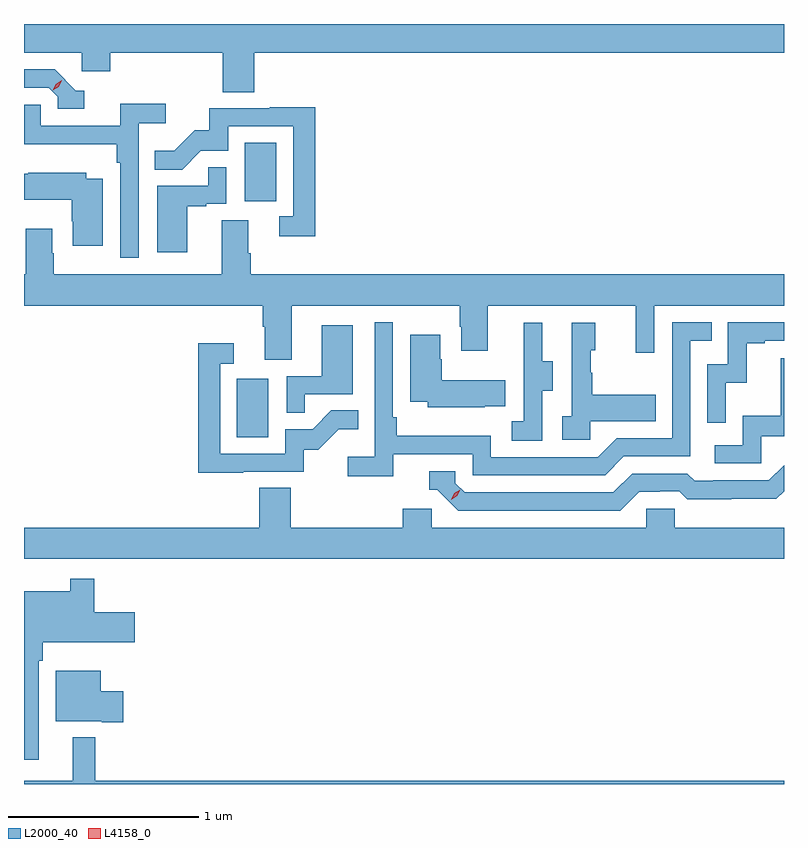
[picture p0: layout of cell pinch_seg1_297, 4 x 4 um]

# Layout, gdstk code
import gdstk
lib = gdstk.Library(unit=1e-6, precision=1e-09)
def R(c, l, rs):  # rectangles x0, y0, x1, y1
    for r in rs: c.add(gdstk.rectangle(r[:2], r[2:], *l))
def P(c, l, *ps):  # polygons
    for p in ps: c.add(gdstk.Polygon(p, *l))
L2000_40 = (2000, 40)
L4158_0 = (4158, 0)

pinch_seg1_297 = lib.new_cell('pinch_seg1_297')
R(pinch_seg1_297, L2000_40, [(926.114,560.364,926.278,560.671), (926.156,561.606,926.32,561.913)])
P(pinch_seg1_297, L2000_40, [(926.204,562.388),(928.993,562.388),(928.993,562.538),(924.993,562.538),(924.993,562.388),(925.296,562.388),(925.296,562.29),(925.448,562.29),(925.448,562.388),(926.039,562.388),(926.039,562.18),(926.204,562.18)],
  [(925.309,562.188),(925.266,562.188),(925.155,562.299),(924.993,562.299),(924.993,562.203),(925.122,562.203),(925.17,562.155),(925.17,562.092),(925.309,562.092)],
  [(925.596,562.016),(925.738,562.016),(925.738,562.118),(925.499,562.118),(925.499,562.002),(925.08,562.002),(925.08,562.113),(924.993,562.113),(924.993,561.905),(925.48,561.905),(925.48,561.809),(925.5,561.809),(925.5,561.309),(925.596,561.309)],
  [(926.525,562.1),(926.287,562.1),(926.287,562.095),(925.969,562.095),(925.969,561.978),(925.892,561.978),(925.785,561.871),(925.681,561.871),(925.681,561.772),(925.825,561.772),(925.923,561.87),(926.067,561.87),(926.067,561.999),(926.409,561.999),(926.409,561.525),(926.337,561.525),(926.337,561.42),(926.525,561.42)],
  [(925.852,561.579),(925.952,561.579),(925.952,561.591),(926.058,561.591),(926.058,561.785),(925.963,561.785),(925.963,561.687),(925.694,561.687),(925.694,561.336),(925.852,561.336)],
  [(925.408,561.724),(925.321,561.724),(925.321,561.754),(925.015,561.754),(925.015,561.751),(924.993,561.751),(924.993,561.614),(925.243,561.614),(925.243,561.501),(925.25,561.501),(925.25,561.372),(925.408,561.372)],
  [(926.401,561.056),(927.286,561.056),(927.286,560.945),(927.293,560.945),(927.293,560.817),(927.433,560.817),(927.433,561.056),(928.214,561.056),(928.214,560.808),(928.311,560.808),(928.311,561.056),(928.993,561.056),(928.993,561.22),(926.186,561.22),(926.186,561.332),(926.173,561.332),(926.173,561.506),(926.033,561.506),(926.033,561.22),(925.149,561.22),(925.149,561.332),(925.141,561.332),(925.141,561.46),(925.001,561.46),(925.001,561.22),(924.993,561.22),(924.993,561.056),(926.249,561.056),(926.249,560.944),(926.261,560.944),(926.261,560.77),(926.401,560.77)],
  [(926.936,560.274),(927.354,560.274),(927.354,560.163),(928.051,560.163),(928.15,560.262),(928.5,560.262),(928.5,560.871),(928.613,560.871),(928.613,560.967),(928.404,560.967),(928.404,560.358),(928.113,560.358),(928.014,560.259),(927.45,560.259),(927.45,560.371),(926.954,560.371),(926.954,560.467),(926.934,560.467),(926.934,560.968),(926.838,560.968),(926.838,560.26),(926.697,560.26),(926.697,560.158),(926.936,560.158)],
  [(928.686,560.651),(928.796,560.651),(928.796,560.859),(928.891,560.859),(928.891,560.871),(928.993,560.871),(928.993,560.967),(928.698,560.967),(928.698,560.748),(928.59,560.748),(928.59,560.439),(928.686,560.439)],
  [(927.972,560.447),(928.319,560.447),(928.319,560.587),(927.985,560.587),(927.985,560.702),(927.975,560.702),(927.975,560.82),(928,560.82),(928,560.965),(927.876,560.965),(927.876,560.474),(927.825,560.474),(927.825,560.349),(927.972,560.349)],
  [(927.72,560.608),(927.775,560.608),(927.775,560.763),(927.721,560.763),(927.721,560.965),(927.623,560.965),(927.623,560.751),(927.624,560.751),(927.624,560.447),(927.561,560.447),(927.561,560.344),(927.72,560.344)],
  [(926.471,560.589),(926.722,560.589),(926.722,560.953),(926.561,560.953),(926.561,560.685),(926.376,560.685),(926.376,560.491),(926.471,560.491)],
  [(927.419,560.525),(927.527,560.525),(927.527,560.662),(927.192,560.662),(927.192,560.774),(927.184,560.774),(927.184,560.902),(927.026,560.902),(927.026,560.549),(927.117,560.549),(927.117,560.522),(927.419,560.522)],
  [(926.147,560.181),(926.466,560.181),(926.466,560.298),(926.542,560.298),(926.649,560.405),(926.753,560.405),(926.753,560.504),(926.61,560.504),(926.512,560.406),(926.367,560.406),(926.367,560.277),(926.025,560.277),(926.025,560.751),(926.098,560.751),(926.098,560.857),(925.909,560.857),(925.909,560.176),(926.147,560.176)],
  [(928.872,560.367),(928.993,560.367),(928.993,560.779),(928.975,560.779),(928.975,560.476),(928.776,560.476),(928.776,560.322),(928.629,560.322),(928.629,560.226),(928.872,560.226)],
  [(928.231,560.076),(928.338,560.076),(928.338,560.079),(928.441,560.079),(928.483,560.037),(928.716,560.037),(928.716,560.039),(928.952,560.039),(928.993,560.08),(928.993,560.215),(928.914,560.136),(928.621,560.136),(928.621,560.133),(928.522,560.133),(928.483,560.172),(928.194,560.172),(928.095,560.073),(927.312,560.073),(927.264,560.121),(927.264,560.184),(927.125,560.184),(927.125,560.088),(927.168,560.088),(927.279,559.977),(928.132,559.977)],
  [(928.993,559.888),(928.419,559.888),(928.419,559.986),(928.269,559.986),(928.269,559.888),(927.138,559.888),(927.138,559.986),(926.987,559.986),(926.987,559.888),(926.396,559.888),(926.396,560.096),(926.231,560.096),(926.231,559.888),(924.993,559.888),(924.993,559.724),(928.993,559.724)],
  [(925.071,559.187),(925.091,559.187),(925.091,559.283),(925.576,559.283),(925.576,559.441),(925.364,559.441),(925.364,559.618),(925.236,559.618),(925.236,559.552),(924.993,559.552),(924.993,558.666),(925.071,558.666)],
  [(925.516,559.027),(925.396,559.027),(925.396,559.135),(925.16,559.135),(925.16,558.869),(925.403,558.869),(925.403,558.862),(925.516,558.862)],
  [(928.993,558.556),(925.367,558.556),(925.367,558.784),(925.25,558.784),(925.25,558.556),(924.993,558.556),(924.993,558.538),(928.993,558.538)])
P(pinch_seg1_297, L4158_0, [(925.145,562.189),(925.145,562.19),(925.161,562.222),(925.192,562.242),(925.192,562.242),(925.192,562.242),(925.176,562.209),(925.145,562.189)],
  [(927.241,560.034),(927.241,560.035),(927.257,560.067),(927.288,560.087),(927.288,560.087),(927.288,560.086),(927.272,560.054),(927.242,560.034)])

lib.write_gds('pinch_seg1_297.gds')
